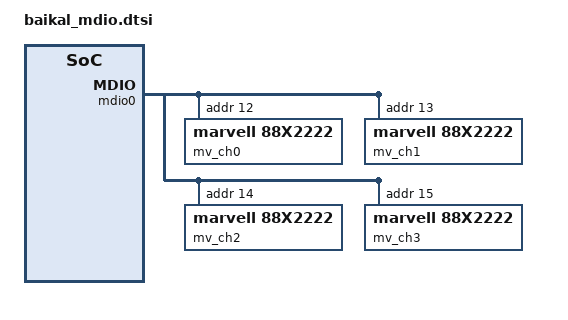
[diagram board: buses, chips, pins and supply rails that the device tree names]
/*
 * Baikal Electronics' XGBE MDIO mezzanine card device tree
 *
 * Copyright (C) 2014-2017  Baikal Electronics JSC
 *
 * This program is free software; you can redistribute it and/or
 * modify it under the terms of the GNU General Public License
 * as published by the Free Software Foundation; either version 2
 * of the License, or (at your option) any later version.
 */

#include <dt-bindings/gpio/gpio.h>

/ {
	aliases {
		mdio-gpio0 = &mdio0;
	};

	mdio0: be-mdio {
		compatible = "be,mdio-gpio";
		#address-cells = <1>;
		#size-cells = <0>;
		mdc-pin = <&porta 9 GPIO_ACTIVE_HIGH>;
		mdo-pin = <&porta 10 GPIO_ACTIVE_HIGH>;
		mdio-pin = <&porta 11 GPIO_ACTIVE_HIGH>;
		rst-pin = <&porta 27 GPIO_ACTIVE_HIGH>;
		clocks = <&gpio_clk 0>;
		clock-names = "gpioclk";

		mv_ch0:88X2222@0C {
			compatible = "marvell,88x2222", "ethernet-phy-ieee802.3-c45";
			reg = <0x0C>;
			phy-mode = "xgmii";
                        mv,line-mode = "KR";
                        mv,host-mode = "KR";
		};

		mv_ch1:88X2222@0D {
			compatible = "marvell,88x2222", "ethernet-phy-ieee802.3-c45";
			reg = <0x0D>;
			phy-mode = "xgmii";
                        mv,line-mode = "KR";
                        mv,host-mode = "KR";
		};

		mv_ch2:88X2222@0E {
			compatible = "marvell,88x2222", "ethernet-phy-ieee802.3-c45";
			reg = <0x0E>;
			phy-mode = "xgmii";
                        mv,line-mode = "KR";
                        mv,host-mode = "KR";

		};

		mv_ch3:88X2222@0F {
			compatible = "marvell,88x2222", "ethernet-phy-ieee802.3-c45";
			reg = <0x0F>;
			phy-mode = "xgmii";
                        mv,line-mode = "KR";
                        mv,host-mode = "KR";
		};
	};
};

&xgmac {
	ext-phy-handle = <&mv_ch0>;
};
